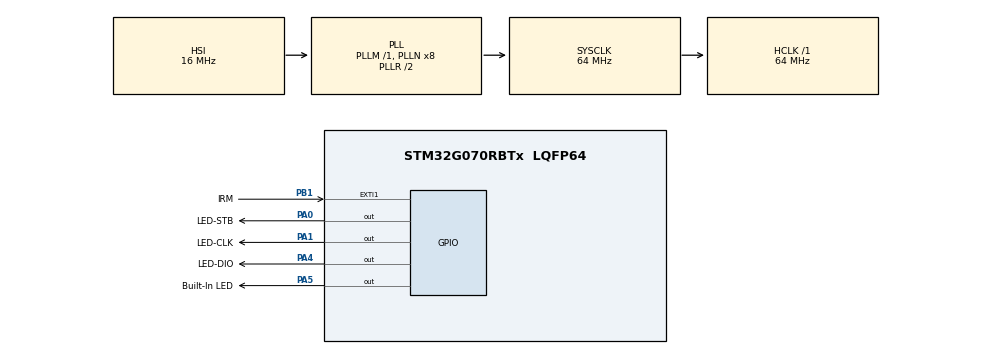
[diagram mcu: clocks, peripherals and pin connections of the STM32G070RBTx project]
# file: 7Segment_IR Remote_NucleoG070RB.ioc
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Mcu.Family=STM32G0
Mcu.Name=STM32G070RBTx
Mcu.Package=LQFP64
NVIC.EXTI0_1_IRQn=true\:0\:0\:false\:false\:true\:true\:true
PA0.GPIO_Label=LED-STB
PA0.GPIO_PuPd=GPIO_NOPULL
PA0.Signal=GPIO_Output
PA1.GPIO_Label=LED-CLK
PA1.GPIO_PuPd=GPIO_NOPULL
PA1.PinState=GPIO_PIN_RESET
PA1.Signal=GPIO_Output
PA4.GPIO_Label=LED-DIO
PA4.GPIO_ModeDefaultOutputPP=GPIO_MODE_OUTPUT_PP
PA4.GPIO_PuPd=GPIO_PULLUP
PA4.PinState=GPIO_PIN_RESET
PA4.Signal=GPIO_Output
PA5.GPIO_Label=Built-In LED
PA5.Signal=GPIO_Output
PB1.GPIO_Label=IRM
PB1.GPIO_ModeDefaultEXTI=GPIO_MODE_IT_FALLING
PB1.GPIO_PuPd=GPIO_NOPULL
PB1.Signal=GPXTI1
ProjectManager.HeapSize=0x200
ProjectManager.StackSize=0x400
ProjectManager.TargetToolchain=MDK-ARM V5.27
RCC.ADCFreq_Value=64000000
RCC.AHBFreq_Value=64000000
RCC.CortexFreq_Value=64000000
RCC.EXTERNAL_CLOCK_VALUE=48000
RCC.HCLKFreq_Value=64000000
RCC.HSE_VALUE=8000000
RCC.HSI_VALUE=16000000
RCC.SYSCLKFreq_VALUE=64000000
RCC.SYSCLKSource=RCC_SYSCLKSOURCE_PLLCLK
RCC.VCOOutputFreq_Value=128000000
TIM1.AutoReloadPreload=TIM_AUTORELOAD_PRELOAD_ENABLE
TIM1.Prescaler=64-1
TIM3.AutoReloadPreload=TIM_AUTORELOAD_PRELOAD_ENABLE
TIM3.Prescaler=64-1
VP_SYS_VS_DBSignals.Mode=DisableDeadBatterySignals
VP_TIM1_VS_ClockSourceINT.Mode=Internal
VP_TIM3_VS_ClockSourceINT.Mode=Internal
board=custom

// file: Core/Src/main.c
/* USER CODE BEGIN Header */
/**
  ******************************************************************************
  * @file           : main.c
  * @brief          : Main program body
  ******************************************************************************
  * @attention
  *
  * <h2><center>&copy; Copyright (c) 2022 STMicroelectronics.
  * All rights reserved.</center></h2>
  *
  * This software component is licensed by ST under BSD 3-Clause license,
  * the "License"; You may not use this file except in compliance with the
  * License. You may obtain a copy of the License at:
  *                        opensource.org/licenses/BSD-3-Clause
  *
  ******************************************************************************
  */
/* USER CODE END Header */
#include "main.h"

TIM_HandleTypeDef htim1;
TIM_HandleTypeDef htim3;

/* USER CODE BEGIN PV */

// Variable for millis
uint32_t lastGetTick;

// Remote Control Variables
uint32_t tempCode;
uint8_t bitIndex;
uint8_t cmd; 																	// second last 8 bits or command
uint8_t cmdli; 																	// inverted command last 8 bits
uint32_t code; 																	// code of each buttons in remote

// Display 7 Segment Variables
uint8_t valueDisplay = 0x00;													// Data for display
uint8_t valueBrightness = brightnessLevel1;										// Brightness Value
uint8_t valueTimer;																// Dummy for looping the countdown
_Bool countDown = 0;															// 0 = Pause and 1 = Play for Start the countdown
_Bool timerMode = 0;															// 0 = off (Counting manual) and 1 = on (Read timer)
_Bool powerDisplay = 0;															// For controlling display on and off, defult = 0 (off)

/* USER CODE END PV */

void SystemClock_Config(void);
static void MX_GPIO_Init(void);
static void MX_TIM1_Init(void);
static void MX_TIM3_Init(void);

/* USER CODE BEGIN 0 */
uint8_t convertNumber(uint8_t num)
{
	uint8_t converted;
	switch (num)
	{
		case (0x00):
			converted = NOL;
			break;
		case (0x01):
			converted = SATU;
			break;
		case (0x02):
			converted = DUA;
			break;
		case (0x03):
			converted = TIGA;
			break;
		case (0x04):
			converted = EMPAT;
			break;
		case (0x05):
			converted = LIMA;
			break;
		case (0x06):
			converted = ENAM;
			break;
		case (0x07):
			converted = TUJUH;
			break;
		case (0x08):
			converted = DELAPAN;
			break;
		case (0x09):
			converted = SEMBILAN;
			break;
	}
	return converted;
}

void delay_us (uint16_t us)
{
	__HAL_TIM_SET_COUNTER(&htim3,0);  // set the counter value a 0
	while (__HAL_TIM_GET_COUNTER(&htim3) < us);  // wait for the counter to reach the us input in the parameter
}

void writeByte(uint8_t byte)
{
	for (int i=0; i<8; i++)
	{
		clockLow;
		writePin(GPIOA, GPIO_PIN_4, byte&0x01);	// Write from LSB
		byte = byte >> 1;
		clockHigh;
	}
	delay_us(10);
}

void writeCommand(uint8_t displayCommand)
{
	Strobe0;	// Pull Strobe Low before sending data
	writeByte(displayCommand);
	Strobe1; // Pull Strobe High after sending data
}

void writeData(uint8_t displayData)
{
	Strobe0;	// Pull Strobe Low before sending data
	writeByte(displayData);
	delay_us(10);
}

void turnOn()
{
	writeCommand(incrementAddress);	// Command 2 - Set Write data
	writeCommand(clearDisplay); // Command 3 - Clear RAM Display
	writeCommand(fourDigits); // Command 1
	writeCommand(displayOff); // Command 4 - Display off
	writeCommand(fourDigits); // Command 1
	writeCommand(brightnessLevel1);	// Command 4 - Display on
}

void turnOff()
{
	writeCommand(incrementAddress);	// Command 2 - Set Write data
	writeCommand(clearDisplay); // Command 3 - Clear RAM Display
	writeCommand(fourDigits); // Command 1
	writeCommand(displayOff); // Command 4 - Display off
	writeCommand(fourDigits); // Command 1
	writeCommand(displayOff);	// Command 4 - Display off
}

void displayNilai(uint8_t ribuan, uint8_t ratusan, uint8_t puluhan, uint8_t satuan)
{
	writeCommand(incrementAddress);		// Command 2 - Set Write data
	Strobe1;

	writeData(digit1Seg1);					// Command 3 - Set Address of 7 Segment
	writeData(ribuan);
	writeData(digit2Seg3);					// Command 3 - Set Address of 7 Segment
	writeData(ratusan);
	writeData(digit3Seg5);					// Command 3 - Set Address of 7 Segment
	writeData(puluhan);
	writeData(digit4Seg7);						// Command 3 - Set Address of 7 Segment
	writeData(satuan);
	Strobe1;
	writeCommand(fourDigits); 				// Command 1
	writeCommand(valueBrightness);		// Command 4 - Display on
	delay_us(40000);
}

void brightnessSetting(uint8_t level)
{
	writeCommand(incrementAddress);	// Command 2 - Set Write data
	writeCommand(clearDisplay); // Command 3 - Clear RAM Display
	writeCommand(fourDigits); // Command 1
	writeCommand(displayOff); // Command 4 - Display off
	writeCommand(fourDigits); // Command 1
	writeCommand(level);	// Command 4 - Display on
}

void HAL_GPIO_EXTI_Falling_Callback(uint16_t GPIO_Pin)
{
	if(GPIO_Pin == GPIO_PIN_1) // If The INT Source Is EXTI Line9 (A9 Pin)
  {
		togglePin(GPIOA, GPIO_PIN_5); // Toggle The Output (LED) Pin

		// Eliminate 9ms AGC Burst signals/header
		if (__HAL_TIM_GET_COUNTER(&htim1) > 8000)
		{
			tempCode = 0;
			bitIndex = 0;
		}
		else if (__HAL_TIM_GET_COUNTER(&htim1) > 1700)
		{
			tempCode |= (1UL << (31-bitIndex)); // Write 1
			bitIndex++;
		}
		else if (__HAL_TIM_GET_COUNTER(&htim1) > 1000)
		{
			tempCode &= ~(1UL << (31-bitIndex)); // Write 0
			bitIndex++;
		}

		// Modulate the signal to get the command
		if (bitIndex == 32)
		{
			cmdli = ~tempCode; // Logical inverted last 8 bits
			cmd = tempCode >> 8; // Command or second last 8 bits shift 8 bit to right/LSB
			if(cmdli == cmd) // Check for erros
			{
				code = tempCode; // If no bit erros
				switch(code)
				{
					case (Power):
						if (powerDisplay == 0)
						{powerDisplay = 1;}
						else {powerDisplay = 0;}
						break;
					case (SetMode):
						if (timerMode == 0)
						{
							timerMode = 1;
							valueDisplay = 0x00;
						}
						else {timerMode = 0;}
						break;
					case (VolUp):	// Vol+ to count Up
						if (timerMode == 0)
						{
							if (powerDisplay == 1)	{valueDisplay += 0x01;}
							else{valueDisplay += 0x00;}
						}
						break;
					case (VolDown):
						if (timerMode == 0)
						{
							if (valueDisplay == 0x00){valueDisplay = 0x00;}
							else
							{
								if (powerDisplay == 1){valueDisplay -= 0x01;}
								else{valueDisplay += 0x00;}
							}
						}
						break;
					case (BrightnessUp):
						if (valueBrightness >= brightnessLevel8){valueBrightness = brightnessLevel8;}
						else{valueBrightness += 0x01;}
						break;
					case (BrightnessDown):
						if (valueBrightness <= brightnessLevel1){valueBrightness = brightnessLevel1;}
						else{valueBrightness -= 0x01;}
					case (btOne):
						if (timerMode == 1)
						{
							valueTimer = fiveSec;
							valueDisplay = fiveSec;
						}
						break;
					case (btTwo):
						if (timerMode == 1)
						{
							valueTimer = tenSec;
							valueDisplay = tenSec;
						}
						break;
					case (btThree):
						if (timerMode == 1)
						{
							valueTimer = twentySec;
							valueDisplay = twentySec;
						}
						break;
					case (btFour):
						if (timerMode == 1)
						{
							valueTimer = thirtySec;
							valueDisplay = thirtySec;
						}
						break;
					case (btFive):
						if (timerMode == 1)
						{
							valueTimer = fiftySec;
							valueDisplay = fiftySec;
						}
						break;
					case (btSix):
						if (timerMode == 1)
						{
							valueTimer = ninetySec;
							valueDisplay = ninetySec;
						}
						break;
					case (btSeven):
						if (timerMode == 1)
						{
							valueTimer = oneHundredSec;
							valueDisplay = oneHundredSec;
						}
						break;
					case (btEight):
						if (timerMode == 1)
						{
							valueTimer = twoHundredSec;
							valueDisplay = twoHundredSec;
						}
						break;
					case (PlayPause):
						if (countDown == 0 && timerMode == 1)
						{
							countDown = 1;
						}
						else if (countDown == 1 && timerMode == 1)
						{
							countDown = 0;
							valueDisplay = valueDisplay;
						}
						break;
				}
			}
			bitIndex = 0;
		}
		__HAL_TIM_SET_COUNTER(&htim1,0);
	}
}
/* USER CODE END 0 */

int main(void)
{

  /* MCU Configuration--------------------------------------------------------*/

  /* Reset of all peripherals, Initializes the Flash interface and the Systick. */
  HAL_Init();

  /* Configure the system clock */
  SystemClock_Config();

  /* Initialize all configured peripherals */
  MX_GPIO_Init();
  MX_TIM1_Init();
  MX_TIM3_Init();
  /* USER CODE BEGIN 2 */
	HAL_TIM_Base_Start(&htim1);	// Start timer 1
  __HAL_TIM_SET_COUNTER(&htim1, 0);
	HAL_TIM_Base_Start(&htim3);	// Start timer 3
	lastGetTick = HAL_GetTick();
  /* USER CODE END 2 */

  /* Infinite loop */
  while (1)
  {

    /* USER CODE BEGIN 3 */
		if (powerDisplay == 0)
		{
			turnOff();
		}
		else if (powerDisplay == 1)
		{
			turnOn();
			brightnessSetting(valueBrightness);

			if (countDown == 1)
			{
				for (uint8_t i = valueTimer; i>0; i--)
				{
					if (HAL_GetTick()-lastGetTick > 1000)
					{
						lastGetTick = HAL_GetTick();
						valueDisplay -= 1;
					}

					if (valueDisplay == 0){countDown = 0;}
				}
			}

			displayNilai(convertNumber(valueDisplay/1000), convertNumber((valueDisplay/100)%10),
										convertNumber((valueDisplay/10)%10), convertNumber(valueDisplay%10));
		}

  }
  /* USER CODE END 3 */
}

void SystemClock_Config(void)
{
  RCC_OscInitTypeDef RCC_OscInitStruct = {0};
  RCC_ClkInitTypeDef RCC_ClkInitStruct = {0};

  /** Configure the main internal regulator output voltage
  */
  HAL_PWREx_ControlVoltageScaling(PWR_REGULATOR_VOLTAGE_SCALE1);
  /** Initializes the RCC Oscillators according to the specified parameters
  * in the RCC_OscInitTypeDef structure.
  */
  RCC_OscInitStruct.OscillatorType = RCC_OSCILLATORTYPE_HSI;
  RCC_OscInitStruct.HSIState = RCC_HSI_ON;
  RCC_OscInitStruct.HSIDiv = RCC_HSI_DIV1;
  RCC_OscInitStruct.HSICalibrationValue = RCC_HSICALIBRATION_DEFAULT;
  RCC_OscInitStruct.PLL.PLLState = RCC_PLL_ON;
  RCC_OscInitStruct.PLL.PLLSource = RCC_PLLSOURCE_HSI;
  RCC_OscInitStruct.PLL.PLLM = RCC_PLLM_DIV1;
  RCC_OscInitStruct.PLL.PLLN = 8;
  RCC_OscInitStruct.PLL.PLLP = RCC_PLLP_DIV2;
  RCC_OscInitStruct.PLL.PLLR = RCC_PLLR_DIV2;
  if (HAL_RCC_OscConfig(&RCC_OscInitStruct) != HAL_OK)
  {
    Error_Handler();
  }
  /** Initializes the CPU, AHB and APB buses clocks
  */
  RCC_ClkInitStruct.ClockType = RCC_CLOCKTYPE_HCLK|RCC_CLOCKTYPE_SYSCLK
                              |RCC_CLOCKTYPE_PCLK1;
  RCC_ClkInitStruct.SYSCLKSource = RCC_SYSCLKSOURCE_PLLCLK;
  RCC_ClkInitStruct.AHBCLKDivider = RCC_SYSCLK_DIV1;
  RCC_ClkInitStruct.APB1CLKDivider = RCC_HCLK_DIV1;

  if (HAL_RCC_ClockConfig(&RCC_ClkInitStruct, FLASH_LATENCY_2) != HAL_OK)
  {
    Error_Handler();
  }
}

static void MX_TIM1_Init(void)
{

  TIM_ClockConfigTypeDef sClockSourceConfig = {0};
  TIM_MasterConfigTypeDef sMasterConfig = {0};

  htim1.Instance = TIM1;
  htim1.Init.Prescaler = 64-1;
  htim1.Init.CounterMode = TIM_COUNTERMODE_UP;
  htim1.Init.Period = 65535;
  htim1.Init.ClockDivision = TIM_CLOCKDIVISION_DIV1;
  htim1.Init.RepetitionCounter = 0;
  htim1.Init.AutoReloadPreload = TIM_AUTORELOAD_PRELOAD_ENABLE;
  if (HAL_TIM_Base_Init(&htim1) != HAL_OK)
  {
    Error_Handler();
  }
  sClockSourceConfig.ClockSource = TIM_CLOCKSOURCE_INTERNAL;
  if (HAL_TIM_ConfigClockSource(&htim1, &sClockSourceConfig) != HAL_OK)
  {
    Error_Handler();
  }
  sMasterConfig.MasterOutputTrigger = TIM_TRGO_RESET;
  sMasterConfig.MasterOutputTrigger2 = TIM_TRGO2_RESET;
  sMasterConfig.MasterSlaveMode = TIM_MASTERSLAVEMODE_DISABLE;
  if (HAL_TIMEx_MasterConfigSynchronization(&htim1, &sMasterConfig) != HAL_OK)
  {
    Error_Handler();
  }

}

static void MX_TIM3_Init(void)
{

  TIM_ClockConfigTypeDef sClockSourceConfig = {0};
  TIM_MasterConfigTypeDef sMasterConfig = {0};

  htim3.Instance = TIM3;
  htim3.Init.Prescaler = 64-1;
  htim3.Init.CounterMode = TIM_COUNTERMODE_UP;
  htim3.Init.Period = 65535;
  htim3.Init.ClockDivision = TIM_CLOCKDIVISION_DIV1;
  htim3.Init.AutoReloadPreload = TIM_AUTORELOAD_PRELOAD_ENABLE;
  if (HAL_TIM_Base_Init(&htim3) != HAL_OK)
  {
    Error_Handler();
  }
  sClockSourceConfig.ClockSource = TIM_CLOCKSOURCE_INTERNAL;
  if (HAL_TIM_ConfigClockSource(&htim3, &sClockSourceConfig) != HAL_OK)
  {
    Error_Handler();
  }
  sMasterConfig.MasterOutputTrigger = TIM_TRGO_RESET;
  sMasterConfig.MasterSlaveMode = TIM_MASTERSLAVEMODE_DISABLE;
  if (HAL_TIMEx_MasterConfigSynchronization(&htim3, &sMasterConfig) != HAL_OK)
  {
    Error_Handler();
  }

}

static void MX_GPIO_Init(void)
{
  GPIO_InitTypeDef GPIO_InitStruct = {0};

  /* GPIO Ports Clock Enable */
  __HAL_RCC_GPIOC_CLK_ENABLE();
  __HAL_RCC_GPIOF_CLK_ENABLE();
  __HAL_RCC_GPIOA_CLK_ENABLE();
  __HAL_RCC_GPIOB_CLK_ENABLE();

  /*Configure GPIO pin Output Level */
  HAL_GPIO_WritePin(GPIOA, LED_STB_Pin|LED_CLK_Pin|LED_DIO_Pin|Built_In_LED_Pin, GPIO_PIN_RESET);

  /*Configure GPIO pins : LED_STB_Pin LED_CLK_Pin Built_In_LED_Pin */
  GPIO_InitStruct.Pin = LED_STB_Pin|LED_CLK_Pin|Built_In_LED_Pin;
  GPIO_InitStruct.Mode = GPIO_MODE_OUTPUT_PP;
  GPIO_InitStruct.Pull = GPIO_NOPULL;
  GPIO_InitStruct.Speed = GPIO_SPEED_FREQ_LOW;
  HAL_GPIO_Init(GPIOA, &GPIO_InitStruct);

  /*Configure GPIO pin : LED_DIO_Pin */
  GPIO_InitStruct.Pin = LED_DIO_Pin;
  GPIO_InitStruct.Mode = GPIO_MODE_OUTPUT_PP;
  GPIO_InitStruct.Pull = GPIO_PULLUP;
  GPIO_InitStruct.Speed = GPIO_SPEED_FREQ_LOW;
  HAL_GPIO_Init(LED_DIO_GPIO_Port, &GPIO_InitStruct);

  /*Configure GPIO pin : IRM_Pin */
  GPIO_InitStruct.Pin = IRM_Pin;
  GPIO_InitStruct.Mode = GPIO_MODE_IT_FALLING;
  GPIO_InitStruct.Pull = GPIO_NOPULL;
  HAL_GPIO_Init(IRM_GPIO_Port, &GPIO_InitStruct);

  /* EXTI interrupt init*/
  HAL_NVIC_SetPriority(EXTI0_1_IRQn, 0, 0);
  HAL_NVIC_EnableIRQ(EXTI0_1_IRQn);

}

void Error_Handler(void)
{
  __disable_irq();
  while (1)
  {
  }
}

/************************ (C) COPYRIGHT STMicroelectronics *****END OF FILE****/
